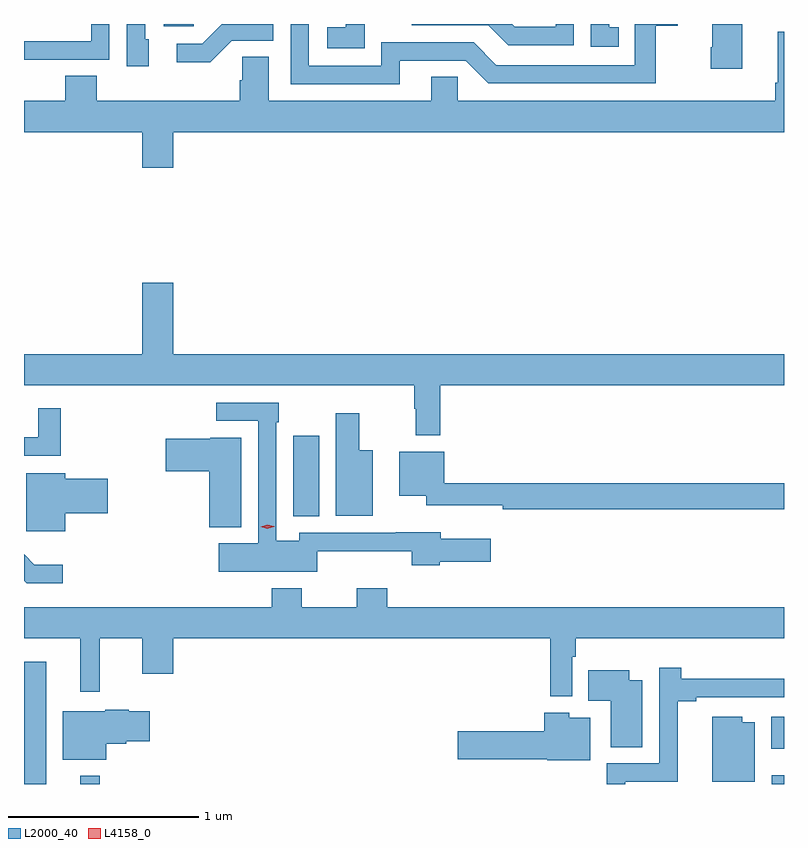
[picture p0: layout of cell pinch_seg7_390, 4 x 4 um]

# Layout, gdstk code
import gdstk
lib = gdstk.Library(unit=1e-6, precision=1e-09)
def R(c, l, rs):  # rectangles x0, y0, x1, y1
    for r in rs: c.add(gdstk.rectangle(r[:2], r[2:], *l))
def P(c, l, *ps):  # polygons
    for p in ps: c.add(gdstk.Polygon(p, *l))
L2000_40 = (2000, 40)
L4158_0 = (4158, 0)

pinch_seg7_390 = lib.new_cell('pinch_seg7_390')
R(pinch_seg7_390, L2000_40, [(500.05,1023.825,500.167,1024.468), (500.345,1023.825,500.449,1023.868), (503.985,1023.825,504.05,1023.871), (503.984,1024.01,504.05,1024.18), (501.467,1025.233,501.604,1025.659), (500.786,1027.814,500.943,1027.825), (500.096,1027.823,500.293,1027.825)])
P(pinch_seg7_390, L2000_40, [(502.944,1027.825),(502.848,1027.825),(502.848,1027.81),(502.634,1027.81),(502.619,1027.825),(502.09,1027.825),(502.09,1027.818),(502.493,1027.818),(502.598,1027.713),(502.944,1027.713)],
  [(502.027,1027.632),(502.374,1027.632),(502.494,1027.512),(503.374,1027.512),(503.374,1027.815),(503.492,1027.815),(503.492,1027.825),(503.265,1027.825),(503.265,1027.608),(502.536,1027.608),(502.416,1027.728),(501.93,1027.728),(501.93,1027.605),(501.549,1027.605),(501.549,1027.825),(501.453,1027.825),(501.453,1027.509),(502.027,1027.509)],
  [(500.707,1027.746),(500.688,1027.746),(500.688,1027.825),(500.592,1027.825),(500.592,1027.602),(500.707,1027.602)],
  [(501.843,1027.825),(501.743,1027.825),(501.743,1027.807),(501.645,1027.807),(501.645,1027.697),(501.843,1027.697)],
  [(503.83,1027.825),(503.672,1027.825),(503.672,1027.702),(503.665,1027.702),(503.665,1027.59),(503.83,1027.59)],
  [(501.144,1027.737),(501.363,1027.737),(501.363,1027.825),(501.09,1027.825),(500.987,1027.722),(500.853,1027.722),(500.853,1027.625),(501.031,1027.625)],
  [(500.183,1027.638),(500.499,1027.638),(500.499,1027.825),(500.403,1027.825),(500.403,1027.734),(500.05,1027.734),(500.05,1027.637),(500.183,1027.637)],
  [(503.18,1027.809),(503.131,1027.809),(503.131,1027.825),(503.034,1027.825),(503.034,1027.704),(503.18,1027.704)],
  [(500.836,1027.256),(504.05,1027.256),(504.05,1027.783),(504.017,1027.783),(504.017,1027.516),(504.005,1027.516),(504.005,1027.42),(502.332,1027.42),(502.332,1027.547),(502.193,1027.547),(502.193,1027.42),(501.337,1027.42),(501.337,1027.652),(501.198,1027.652),(501.198,1027.529),(501.185,1027.529),(501.185,1027.42),(500.432,1027.42),(500.432,1027.553),(500.267,1027.553),(500.267,1027.42),(500.05,1027.42),(500.05,1027.256),(500.672,1027.256),(500.672,1027.068),(500.836,1027.068)],
  [(502.241,1025.924),(504.05,1025.924),(504.05,1026.088),(500.836,1026.088),(500.836,1026.463),(500.672,1026.463),(500.672,1026.088),(500.05,1026.088),(500.05,1025.924),(502.105,1025.924),(502.105,1025.801),(502.113,1025.801),(502.113,1025.661),(502.241,1025.661)],
  [(501.594,1025.051),(502.091,1025.051),(502.091,1024.976),(502.239,1024.976),(502.239,1024.994),(502.507,1024.994),(502.507,1025.116),(502.243,1025.116),(502.243,1025.15),(502.007,1025.15),(502.007,1025.148),(501.498,1025.148),(501.498,1025.104),(501.378,1025.104),(501.378,1025.729),(501.391,1025.729),(501.391,1025.832),(501.063,1025.832),(501.063,1025.736),(501.282,1025.736),(501.282,1025.092),(501.075,1025.092),(501.075,1024.943),(501.594,1024.943)],
  [(500.243,1025.803),(500.126,1025.803),(500.126,1025.649),(500.05,1025.649),(500.05,1025.553),(500.243,1025.553)],
  [(501.886,1025.581),(501.814,1025.581),(501.814,1025.776),(501.692,1025.776),(501.692,1025.237),(501.886,1025.237)],
  [(501.193,1025.647),(501.03,1025.647),(501.03,1025.641),(500.796,1025.641),(500.796,1025.471),(501.026,1025.471),(501.026,1025.177),(501.193,1025.177)],
  [(504.05,1025.408),(502.263,1025.408),(502.263,1025.575),(502.025,1025.575),(502.025,1025.342),(502.167,1025.342),(502.167,1025.291),(502.57,1025.291),(502.57,1025.272),(504.05,1025.272)],
  [(500.266,1025.249),(500.491,1025.249),(500.491,1025.432),(500.266,1025.432),(500.266,1025.461),(500.063,1025.461),(500.063,1025.156),(500.266,1025.156)],
  [(500.254,1024.978),(500.105,1024.978),(500.05,1025.033),(500.05,1024.895),(500.064,1024.881),(500.254,1024.881)],
  [(502.935,1024.496),(502.955,1024.496),(502.955,1024.592),(504.05,1024.592),(504.05,1024.756),(501.962,1024.756),(501.962,1024.855),(501.802,1024.855),(501.802,1024.756),(501.513,1024.756),(501.513,1024.855),(501.353,1024.855),(501.353,1024.756),(500.05,1024.756),(500.05,1024.592),(500.345,1024.592),(500.345,1024.311),(500.449,1024.311),(500.449,1024.592),(500.672,1024.592),(500.672,1024.404),(500.836,1024.404),(500.836,1024.592),(502.819,1024.592),(502.819,1024.286),(502.935,1024.286)],
  [(503.215,1023.837),(503.492,1023.837),(503.492,1024.261),(503.587,1024.261),(503.587,1024.281),(504.05,1024.281),(504.05,1024.379),(503.51,1024.379),(503.51,1024.438),(503.394,1024.438),(503.394,1023.933),(503.117,1023.933),(503.117,1023.825),(503.215,1023.825)],
  [(503.305,1024.372),(503.236,1024.372),(503.236,1024.423),(503.02,1024.423),(503.02,1024.262),(503.138,1024.262),(503.138,1024.018),(503.305,1024.018)],
  [(500.482,1024.037),(500.589,1024.037),(500.589,1024.049),(500.713,1024.049),(500.713,1024.207),(500.6,1024.207),(500.6,1024.215),(500.478,1024.215),(500.478,1024.207),(500.255,1024.207),(500.255,1023.953),(500.482,1023.953)],
  [(503.029,1024.174),(502.92,1024.174),(502.92,1024.201),(502.787,1024.201),(502.787,1024.103),(502.332,1024.103),(502.332,1023.956),(502.803,1023.956),(502.803,1023.95),(503.029,1023.95)],
  [(503.896,1024.15),(503.83,1024.15),(503.83,1024.18),(503.672,1024.18),(503.672,1023.836),(503.896,1023.836)])
P(pinch_seg7_390, L4158_0, [(501.331,1025.169),(501.296,1025.178),(501.296,1025.178),(501.296,1025.178),(501.331,1025.189),(501.366,1025.181),(501.366,1025.181),(501.366,1025.18)])

lib.write_gds('pinch_seg7_390.gds')
